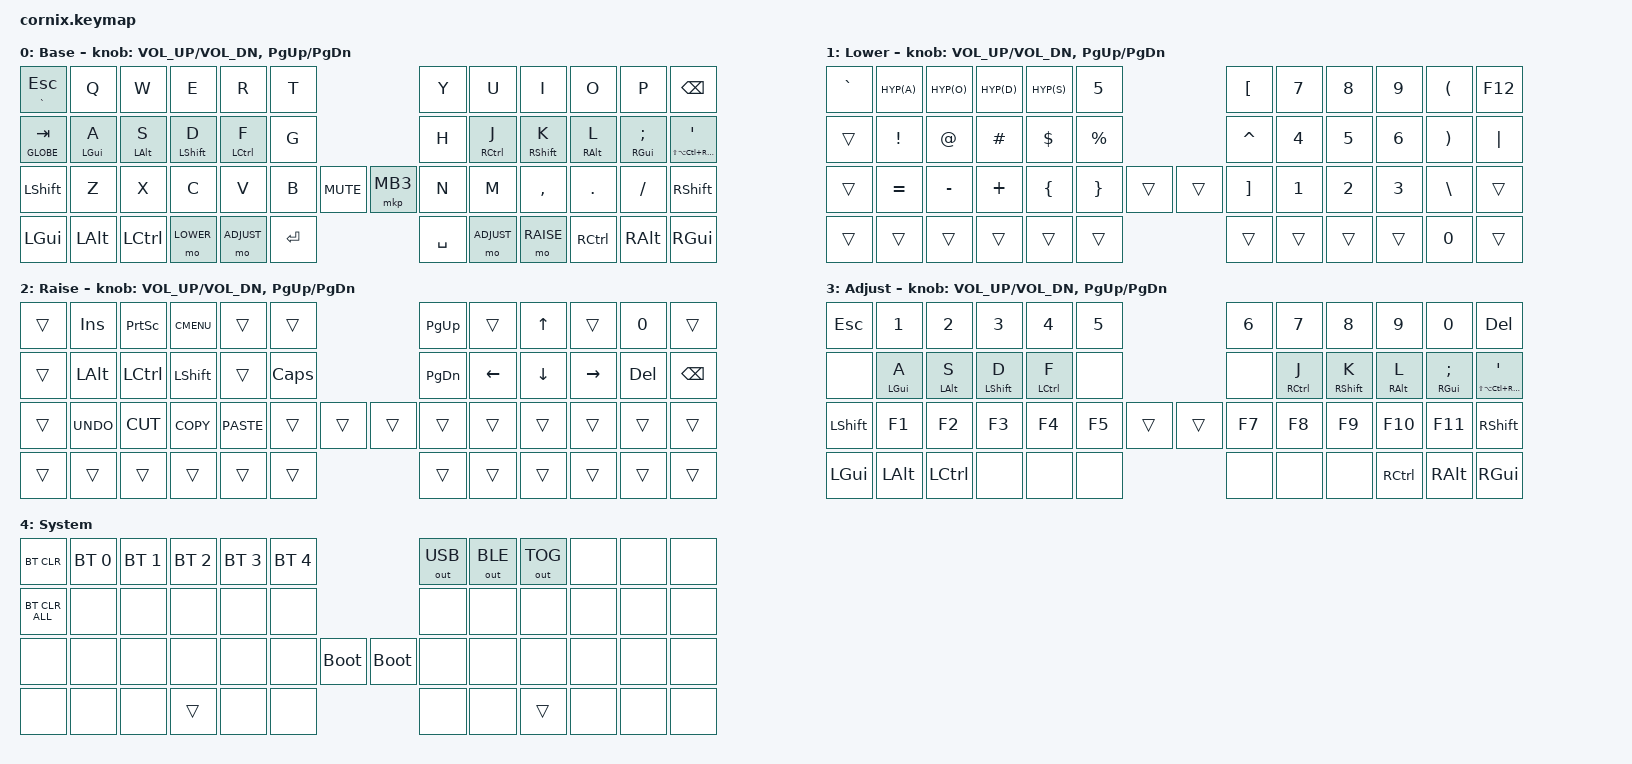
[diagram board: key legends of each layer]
/*
 * Cornix LP keymap, modelled on the Sofle RGB layout.
 *
 * Key positions (50):
 *   0- 5 |  6-11   top row
 *  12-17 | 18-23   home row
 *  24-29 | 32-37   bottom row      30 = left knob press, 31 = right knob press
 *  38-43 | 44-49   thumbs: 38-40 outer left, 41-43 thumb left, 44-46 thumb right, 47-49 outer right
 */

#include <behaviors.dtsi>
#include <dt-bindings/zmk/bt.h>
#include <dt-bindings/zmk/ext_power.h>
#include <dt-bindings/zmk/keys.h>
#include <dt-bindings/zmk/outputs.h>
#include <dt-bindings/zmk/pointing.h>

#define BASE   0
#define LOWER  1
#define RAISE  2
#define ADJUST 3
#define SYSTEM 4

// Hyper = Shift + Alt + Ctrl + Cmd, same definition as the Sofle keymap
#define HYPER LS(LA(LC(RIGHT_GUI)))
#define HYP(key) LS(LA(LC(LG(key))))

/ {
    behaviors {
        // Same hold-tap as the Sofle: tap-preferred, 300 ms.
        mt: mod_tap {
            compatible = "zmk,behavior-hold-tap";
            #binding-cells = <2>;
            flavor = "tap-preferred";
            tapping-term-ms = <300>;
            bindings = <&kp>, <&kp>;
        };
    };

    // Lower + Raise together = System (Bluetooth, output, bootloader).
    conditional_layers {
        compatible = "zmk,conditional-layers";

        system_layer {
            if-layers = <LOWER RAISE>;
            then-layer = <SYSTEM>;
        };
    };

    combos {
        compatible = "zmk,combos";

        equals {
            bindings = <&kp EQUAL>;
            key-positions = <17 18>;   // G + H
        };

        minus {
            bindings = <&kp MINUS>;
            key-positions = <5 6>;     // T + Y
        };
    };

    keymap {
        compatible = "zmk,keymap";

        default_layer {
            display-name = "Base";

            // ------------------------------------------------------------------------------------------------------------
            // | ESC/`  |  Q  |  W  |  E  |  R  |  T  |                   |  Y  |  U  |  I  |  O  |  P  | BKSPC |
            // | TAB/🌐 |  A  |  S  |  D  |  F  |  G  |                   |  H  |  J  |  K  |  L  |  ;  |  '    |   home row: GUI ALT SHIFT CTRL / CTRL SHIFT ALT GUI, HYPER on '
            // | SHIFT  |  Z  |  X  |  C  |  V  |  B  |  MUTE  |  | MB3   |  N  |  M  |  ,  |  .  |  /  | SHIFT |
            // | GUI    | ALT | CTRL| LOWER | ADJUST | ENTER |  | SPACE | ADJUST | RAISE | CTRL | ALT | GUI |

            bindings = <
&mt GRAVE ESC  &kp Q           &kp W           &kp E             &kp R        &kp T                                   &kp Y      &kp U        &kp I              &kp O            &kp P               &kp BSPC
&mt GLOBE TAB  &mt LEFT_GUI A  &mt LEFT_ALT S  &mt LEFT_SHIFT D  &mt LCTRL F  &kp G                                   &kp H      &mt RCTRL J  &mt RIGHT_SHIFT K  &mt RIGHT_ALT L  &mt RIGHT_GUI SEMI  &mt HYPER APOS
&kp LSHFT      &kp Z           &kp X           &kp C             &kp V        &kp B       &kp C_MUTE    &mkp MB3      &kp N      &kp M        &kp COMMA          &kp DOT          &kp FSLH            &kp RSHFT
&kp LGUI       &kp LALT        &kp LCTRL       &mo LOWER         &mo ADJUST   &kp RET                                 &kp SPACE  &mo ADJUST   &mo RAISE          &kp RCTRL        &kp RALT            &kp RGUI
            >;

            sensor-bindings = <&inc_dec_kp C_VOL_UP C_VOL_DN &inc_dec_kp PG_UP PG_DN>;
        };

        lower_layer {
            display-name = "Lower";

            // ------------------------------------------------------------------------------------------------------------
            // |   `   | HYP A | HYP O | HYP D | HYP S |  5  |                   |  [  |  7  |  8  |  9  |  (  |  F12 |
            // |       |   !   |   @   |   #   |   $   |  %  |                   |  ^  |  4  |  5  |  6  |  )  |  |   |
            // |       |   =   |   -   |   +   |   {   |  }  |        |  |       |  ]  |  1  |  2  |  3  |  \  |      |
            // |       |       |       |       |       |     |        |  |       |     |     |     |     |  0  |      |

            bindings = <
&kp GRAVE  &kp HYP(A)  &kp HYP(O)  &kp HYP(D)  &kp HYP(S)  &kp N5                             &kp LBKT   &kp N7  &kp N8  &kp N9  &kp LPAR  &kp F12
&trans     &kp EXCL    &kp AT      &kp HASH    &kp DLLR    &kp PRCNT                          &kp CARET  &kp N4  &kp N5  &kp N6  &kp RPAR  &kp PIPE
&trans     &kp EQUAL   &kp MINUS   &kp PLUS    &kp LBRC    &kp RBRC   &trans       &trans     &kp RBKT   &kp N1  &kp N2  &kp N3  &kp BSLH  &trans
&trans     &trans      &trans      &trans      &trans      &trans                             &trans     &trans  &trans  &trans  &kp N0    &trans
            >;

            sensor-bindings = <&inc_dec_kp C_VOL_UP C_VOL_DN &inc_dec_kp PG_UP PG_DN>;
        };

        raise_layer {
            display-name = "Raise";

            // ------------------------------------------------------------------------------------------------------------
            // |       | INS  | PSCR | MENU  |       |      |                | PGUP |      |   ^   |      |   0   |       |
            // |       | ALT  | CTRL | SHIFT |       | CAPS |                | PGDN |   <- |   v   |  ->  |  DEL  | BKSPC |
            // |       | UNDO | CUT  | COPY  | PASTE |      |      |  |      |      |      |       |      |       |       |
            // |       |      |      |       |       |      |      |  |      |      |      |       |      |       |       |

            bindings = <
&trans  &kp INS     &kp PSCRN  &kp K_CMENU  &trans       &trans                          &kp PG_UP  &trans    &kp UP    &trans     &kp N0   &trans
&trans  &kp LALT    &kp LCTRL  &kp LSHFT    &trans       &kp CLCK                        &kp PG_DN  &kp LEFT  &kp DOWN  &kp RIGHT  &kp DEL  &kp BSPC
&trans  &kp K_UNDO  &kp K_CUT  &kp K_COPY   &kp K_PASTE  &trans    &trans      &trans    &trans     &trans    &trans    &trans     &trans   &trans
&trans  &trans      &trans     &trans       &trans       &trans                          &trans     &trans    &trans    &trans     &trans   &trans
            >;

            sensor-bindings = <&inc_dec_kp C_VOL_UP C_VOL_DN &inc_dec_kp PG_UP PG_DN>;
        };

        adjust_layer {
            display-name = "Adjust";

            // Numbers on the Q-P row (Shift gives !@#$%^&*()), F-keys below, modifiers where they live on Base.
            // ------------------------------------------------------------------------------------------------------------
            // |  ESC  |  1  |  2  |  3  |  4  |  5  |                   |  6  |  7  |  8  |  9  |  0  |  DEL  |
            // |       |  A  |  S  |  D  |  F  |     |                   |     |  J  |  K  |  L  |  ;  |  '    |   same home row mods as Base
            // | SHIFT | F1  | F2  | F3  | F4  | F5  |        |  |       | F7  | F8  | F9  | F10 | F11 | SHIFT |
            // | GUI   | ALT | CTRL|     |     |     |        |  |       |     |     |     | CTRL| ALT | GUI   |

            bindings = <
&kp ESC    &kp N1          &kp N2          &kp N3            &kp N4       &kp N5                            &kp N6   &kp N7       &kp N8             &kp N9           &kp N0              &kp DEL
&none      &mt LEFT_GUI A  &mt LEFT_ALT S  &mt LEFT_SHIFT D  &mt LCTRL F  &none                             &none    &mt RCTRL J  &mt RIGHT_SHIFT K  &mt RIGHT_ALT L  &mt RIGHT_GUI SEMI  &mt HYPER APOS
&kp LSHFT  &kp F1          &kp F2          &kp F3            &kp F4       &kp F5   &trans       &trans      &kp F7   &kp F8       &kp F9             &kp F10          &kp F11             &kp RSHFT
&kp LGUI   &kp LALT        &kp LCTRL       &none             &none        &none                             &none    &none        &none              &kp RCTRL        &kp RALT            &kp RGUI
            >;

            sensor-bindings = <&inc_dec_kp C_VOL_UP C_VOL_DN &inc_dec_kp PG_UP PG_DN>;
        };

        system_layer {
            display-name = "System";

            // Hold Lower + Raise. Bluetooth profiles, USB/BLE output, bootloader.
            // ------------------------------------------------------------------------------------------------------------
            // | BTCLR | BT1 | BT2 | BT3 | BT4 | BT5 |                    | OUT USB | OUT BLE | OUT TOG |     |     |        |
            // | CLRALL|     |     |     |     |     |                    |         |         |         |     |     |        |   CLRALL = forget every BT profile
            // |       |     |     |     |     |     |  BOOT  |  |  BOOT  |         |         |         |     |     |        |
            // |       |     |     |     |     |     |        |  |        |         |         |         |     |     |        |

            bindings = <
&bt BT_CLR  &bt BT_SEL 0  &bt BT_SEL 1  &bt BT_SEL 2  &bt BT_SEL 3  &bt BT_SEL 4                                &out OUT_USB  &out OUT_BLE  &out OUT_TOG  &none  &none  &none
&bt BT_CLR_ALL  &none     &none         &none         &none         &none                                       &none         &none         &none         &none  &none  &none
&none       &none         &none         &none         &none         &none         &bootloader    &bootloader    &none         &none         &none         &none  &none  &none
&none       &none         &none         &trans        &none         &none                                       &none         &none         &trans        &none  &none  &none
            >;
        };
    };
};
